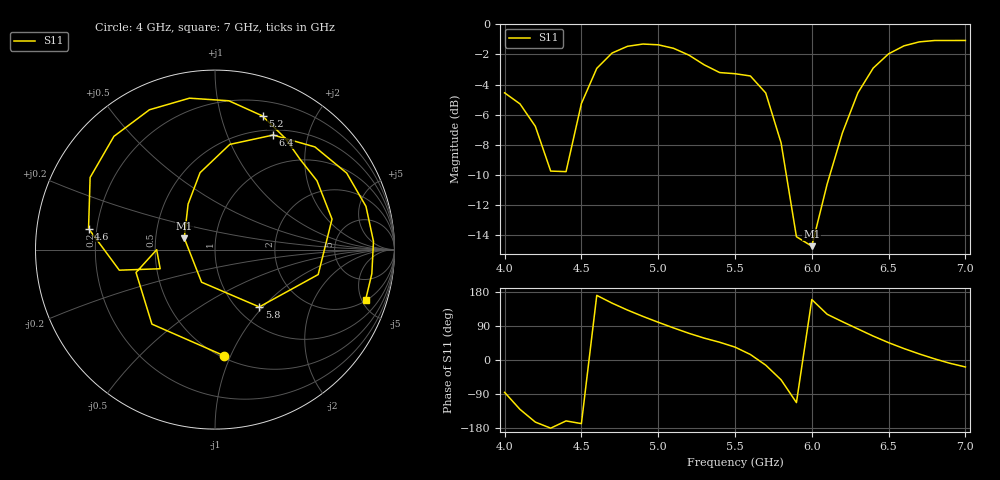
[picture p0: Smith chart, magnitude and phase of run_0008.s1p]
! Touchstone file exported from HFSS 2024.2.0
!  File:  C:/Users/wsak9/Desktop/Sim Fast/Widenad Patch/WP_AI_V1_sweep.aedt
!  Generated:  03:02:59 PM Oct 13, 2026
!  Design:  A1_model
!  Project:  WP_AI_V1_sweep
!  Setup:  Setup1
!  Solution:  Sweep
! Variables:
!  Air_gap = 2.32mm
!  Curve_Amp1 = 3.43
!  Curve_len1 = 1
!  Curve_pos = 12.195mm
!  Extra = 5.32mm
!  H_sub = 0.79mm
!  L_Patch = 20.39mm
!  L_Patch1 = 19.59mm
!  Sx = 2.87mm
!  Sy = 3.51mm
!  WS = 0.74mm
!  W_Patch = 21.67mm
!  W_Patch1 = 14.27mm
!Data is not renormalized
# GHz S MA
! Terminal data exported
! Port[1] = 1
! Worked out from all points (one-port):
!   31 points, 4 GHz to 7 GHz, reference per port
!   lowest |S11| = -14.8 dB at 6 GHz (marker M1), VSWR 1.45
!   |S11| at or under -10 dB: 5.834 GHz to 6.118 GHz (284.4 MHz wide, 4.76 % of centre)
!   S11 on the Smith chart (normalised r, x): 4 GHz: 0.52, -0.94; 4.6 GHz: 0.17, +0.08; 5.2 GHz: 0.34, +1.36; 5.8 GHz: 1.25, -0.95; 6.4 GHz: 0.56, +1.48; 7 GHz: 2.10, -5.38
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4  0.592 -85.4
4.1  0.5439 -130.3
4.2  0.4581 -163.8
4.3  0.325 -179.9
4.4  0.3236 -160.8
4.5  0.5454 -167.9
4.6  0.7142 170.6
4.7  0.8034 150.0
4.8  0.8457 131.7
4.9  0.8604 115.1
5  0.8556 99.6
5.1  0.8328 84.7
5.2  0.7904 70.4
5.3  0.7334 57.7
5.5  0.6855 34.0
5.6  0.6737 14.6
5.7  0.5915 -13.6
5.8  0.4036 -52.3
5.9  0.1965 -112.4
6  0.1828 159.5
6.2  0.4366 101.0
6.3  0.5918 82.0
6.4  0.7158 63.1
6.5  0.7983 45.8
6.6  0.8485 30.2
6.7  0.8749 16.0
6.8  0.8842 3.0
7  0.8844 -18.4
